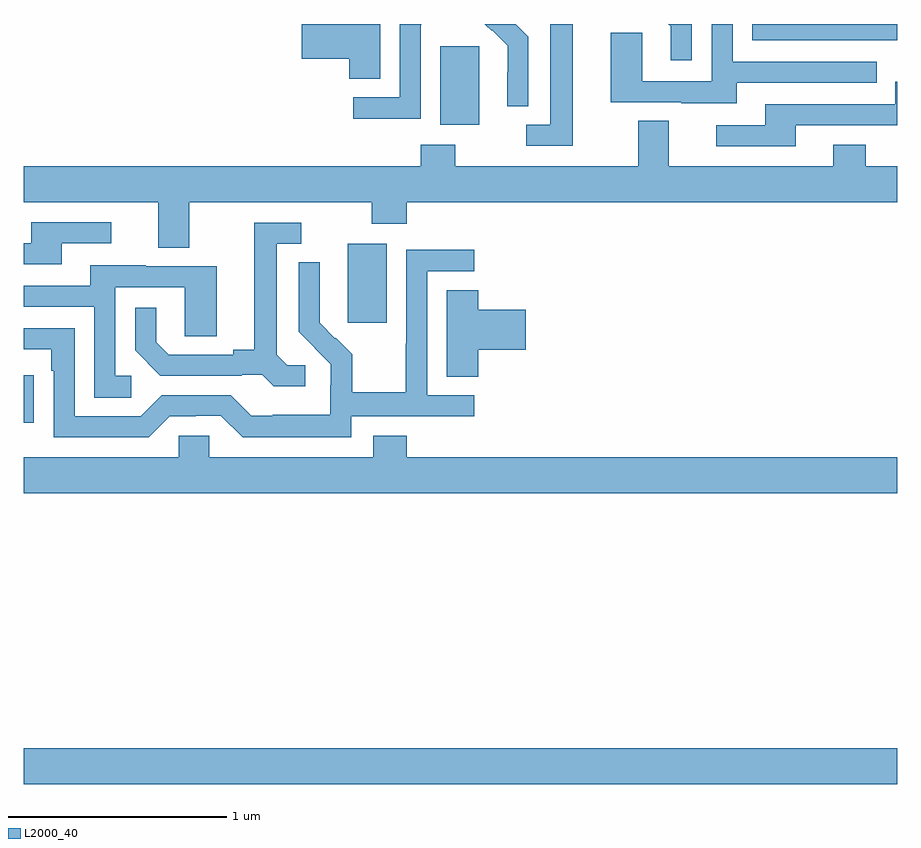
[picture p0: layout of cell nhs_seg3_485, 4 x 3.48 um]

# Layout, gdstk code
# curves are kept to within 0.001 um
import gdstk
lib = gdstk.Library(unit=1e-6, precision=1e-09)
def R(c, l, rs):  # rectangles x0, y0, x1, y1
    for r in rs: c.add(gdstk.rectangle(r[:2], r[2:], *l))
def P(c, l, *ps):  # polygons
    for p in ps: c.add(gdstk.Polygon(p, *l))
L2000_40 = (2000, 40)

nhs_seg3_485 = lib.new_cell('nhs_seg3_485')
R(nhs_seg3_485, L2000_40, [(135,696.92,139,697.084), (135,698.574,135.047,698.792), (136.484,699.033,136.663,699.394), (136.907,699.938,137.086,700.299), (138.336,700.326,139,700.4)])
P(nhs_seg3_485, L2000_40, [(138.06,700.4),(137.952,700.4),(137.963,700.389),(137.963,700.233),(138.06,700.233)],
  [(137.515,700.4),(137.411,700.4),(137.411,699.939),(137.301,699.939),(137.301,699.843),(137.515,699.843)],
  [(137.31,700.342),(137.252,700.4),(137.11,700.4),(137.142,700.368),(137.145,700.371),(137.216,700.301),(137.216,700.178),(137.214,700.178),(137.214,700.024),(137.31,700.024)],
  [(136.633,700.4),(136.272,700.4),(136.272,700.241),(136.49,700.241),(136.49,700.15),(136.633,700.15)],
  [(136.818,700.396),(136.821,700.396),(136.821,700.4),(136.722,700.4),(136.722,700.065),(136.509,700.065),(136.509,699.967),(136.818,699.967)],
  [(138.265,700.131),(138.905,700.131),(138.905,700.227),(138.246,700.227),(138.246,700.4),(138.15,700.4),(138.15,700.137),(137.832,700.137),(137.832,700.361),(137.687,700.361),(137.687,700.041),(138.011,700.041),(138.011,700.037),(138.265,700.037)],
  [(138.535,699.936),(139,699.936),(139,700.135),(138.99,700.135),(138.99,700.032),(138.395,700.032),(138.395,699.936),(138.171,699.936),(138.171,699.84),(138.535,699.84)],
  [(135.757,699.584),(136.594,699.584),(136.594,699.485),(136.754,699.485),(136.754,699.584),(139,699.584),(139,699.748),(138.855,699.748),(138.855,699.847),(138.707,699.847),(138.707,699.748),(137.953,699.748),(137.953,699.956),(137.813,699.956),(137.813,699.748),(136.977,699.748),(136.977,699.847),(136.817,699.847),(136.817,699.748),(135,699.748),(135,699.584),(135.617,699.584),(135.617,699.376),(135.757,699.376)],
  [(135.175,699.396),(135.4,699.396),(135.4,699.492),(135.035,699.492),(135.035,699.396),(135,699.396),(135,699.3),(135.175,699.3)],
  [(136.288,698.838),(136.206,698.838),(136.159,698.885),(136.159,699.393),(136.27,699.393),(136.27,699.489),(136.055,699.489),(136.055,698.909),(135.959,698.909),(135.959,698.886),(135.664,698.886),(135.607,698.943),(135.607,699.1),(135.51,699.1),(135.51,698.906),(135.626,698.79),(135.998,698.79),(135.998,698.793),(136.092,698.793),(136.144,698.741),(136.288,698.741)],
  [(136.5,698.604),(137.062,698.604),(137.062,698.7),(136.848,698.7),(136.848,699.267),(137.062,699.267),(137.062,699.366),(136.752,699.366),(136.752,698.936),(136.75,698.936),(136.75,698.713),(136.505,698.713),(136.505,698.887),(136.428,698.964),(136.425,698.961),(136.355,699.032),(136.356,699.308),(136.26,699.308),(136.26,698.99),(136.406,698.842),(136.406,698.745),(136.404,698.745),(136.404,698.611),(136.141,698.611),(136.141,698.607),(136.041,698.607),(135.948,698.7),(135.633,698.7),(135.537,698.604),(135.234,698.604),(135.234,699.006),(135,699.006),(135,698.91),(135.125,698.91),(135.125,698.813),(135.138,698.813),(135.138,698.508),(135.573,698.508),(135.669,698.604),(135.788,698.604),(135.788,698.607),(135.903,698.607),(136.003,698.507),(136.5,698.507)],
  [(135.493,698.79),(135.42,698.79),(135.42,699.195),(135.738,699.195),(135.738,698.971),(135.883,698.971),(135.883,699.291),(135.559,699.291),(135.559,699.295),(135.305,699.295),(135.305,699.201),(135,699.201),(135,699.105),(135.324,699.105),(135.324,698.689),(135.493,698.689)],
  [(137.081,698.909),(137.299,698.909),(137.299,699.092),(137.081,699.092),(137.081,699.182),(136.937,699.182),(136.937,698.785),(137.081,698.785)],
  [(139,698.416),(136.754,698.416),(136.754,698.515),(136.601,698.515),(136.601,698.416),(135.849,698.416),(135.849,698.514),(135.711,698.514),(135.711,698.416),(135,698.416),(135,698.252),(139,698.252)])

lib.write_gds('nhs_seg3_485.gds')
